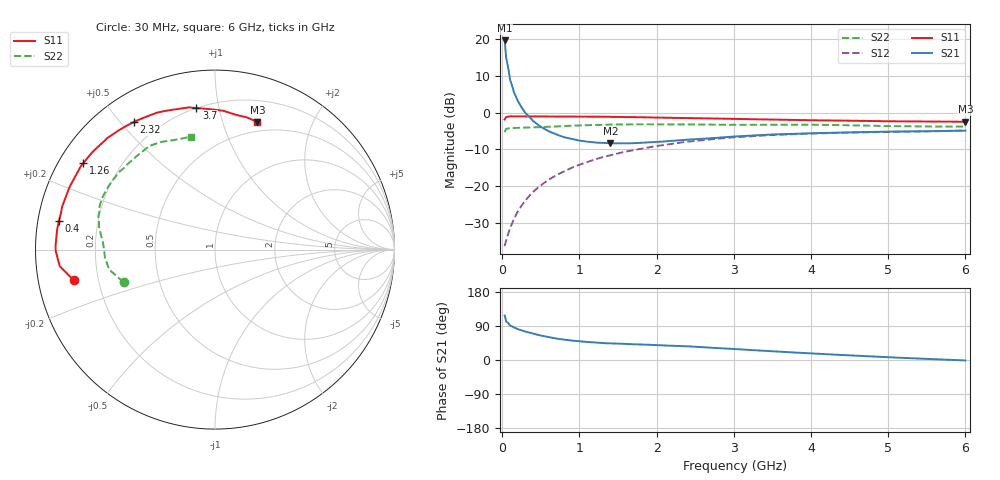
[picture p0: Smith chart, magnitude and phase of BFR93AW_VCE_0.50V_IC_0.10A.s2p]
! Infineon Technologies  Discrete & RF Semiconductors
! BFR93AW
! VCE = 0.50 V,  IC = 0.10 A
! Common Emitter S-Parameters:  Nov 2015
# GHz  S  MA  R  50
!  f  S11  S21  S12  S22
! GHz  MAG  ANG  MAG  ANG  MAG  ANG  MAG  ANG
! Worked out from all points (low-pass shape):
!   206 points, 30 MHz to 6 GHz, reference 50 ohm
!   highest |S21| = 19.64 dB at 30 MHz (marker M1); lowest = -8.4 dB at 1.4 GHz (marker M2)
!   |S21| within 3 dB of the highest: start of sweep to 43.3 MHz
!   lowest |S11| = -2.5 dB at 6 GHz (marker M3), VSWR 6.96, Z = 20.2 + j65.3 ohm
!   |S11| at or under -10 dB: nowhere
!   |S22| runs from -5.3 to -3.2 dB; largest |S21 - S12| = 9.6
!   S11 on the Smith chart (normalised r, x): 30 MHz: 0.11, -0.11; 400 MHz: 0.06, +0.09; 1.26 GHz: 0.07, +0.30; 2.32 GHz: 0.11, +0.54; 3.7 GHz: 0.20, +0.86; 6 GHz: 0.40, +1.31
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0.03  0.8047 -167.7  9.599 117.6  0.0151 40.6  0.541 -160.4
0.05  0.8697 -173.9  5.502 101.4  0.018 42.7  0.5999 -169.3
0.075  0.8778 -176.8  4.146 97.8  0.022 50.6  0.6063 -172.5
0.1  0.888 -179.6  2.822 90.8  0.0264 55.9  0.6146 -175.6
0.15  0.8885 178.4  1.897 85.9  0.0352 62.5  0.6163 -178.0
0.2  0.8862 176.0  1.443 81.4  0.0446 65.7  0.6179 -179.6
0.26  0.8862 173.8  1.13 77.5  0.0558 69.0  0.6199 179.0
0.3  0.8865 172.7  0.985 74.9  0.0633 69.8  0.621 178.3
0.4  0.8844 169.6  0.766 69.4  0.0831 70.5  0.6248 176.3
0.5  0.882 166.8  0.636 64.5  0.1017 70.5  0.6323 174.7
0.7  0.8817 161.1  0.502 56.6  0.1397 68.7  0.6454 171.5
0.8  0.8825 158.5  0.461 53.7  0.1579 67.4  0.6546 169.9
1.04  0.8785 152.2  0.409 48.6  0.2013 64.0  0.6683 165.8
1.26  0.8773 146.7  0.388 45.3  0.2394 60.3  0.6773 162.0
1.4  0.8741 143.1  0.38 43.7  0.2616 57.9  0.6859 159.7
2.02  0.8535 128.8  0.398 39.0  0.3522 47.6  0.6903 150.0
2.32  0.8426 122.6  0.421 36.7  0.3908 42.9  0.6877 145.3
3.1  0.8153 107.4  0.477 27.8  0.466 30.9  0.68 134.0
3.7  0.7957 97.5  0.51 20.8  0.5029 22.5  0.6799 126.1
4.1  0.7821 91.7  0.525 16.3  0.52 17.4  0.6803 121.1
5.1  0.7591 80.2  0.551 6.4  0.545 7.3  0.6519 110.5
6  0.7488 71.6  0.567 -1.2  0.5675 -0.1  0.6428 101.9
